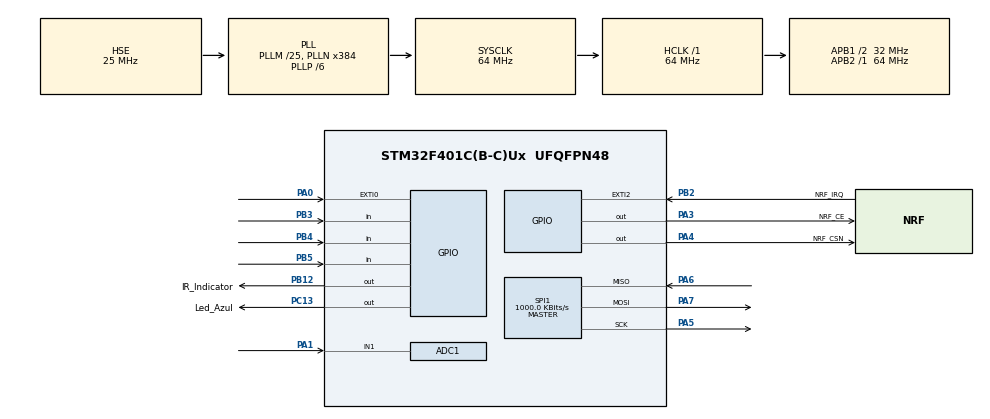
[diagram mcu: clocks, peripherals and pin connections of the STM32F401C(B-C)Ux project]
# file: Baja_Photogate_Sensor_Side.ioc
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ADC1.Channel-0\#ChannelRegularConversion=ADC_CHANNEL_1
ADC1.ContinuousConvMode=ENABLE
ADC1.DMAContinuousRequests=ENABLE
ADC1.NbrOfConversion=1
ADC1.NbrOfConversionFlag=1
ADC1.Rank-0\#ChannelRegularConversion=1
ADC1.SamplingTime-0\#ChannelRegularConversion=ADC_SAMPLETIME_480CYCLES
ADC1.master=1
Dma.ADC1.0.Direction=DMA_PERIPH_TO_MEMORY
Dma.ADC1.0.FIFOMode=DMA_FIFOMODE_DISABLE
Dma.ADC1.0.Instance=DMA2_Stream0
Dma.ADC1.0.MemDataAlignment=DMA_MDATAALIGN_HALFWORD
Dma.ADC1.0.MemInc=DMA_MINC_ENABLE
Dma.ADC1.0.Mode=DMA_CIRCULAR
Dma.ADC1.0.PeriphDataAlignment=DMA_PDATAALIGN_HALFWORD
Dma.ADC1.0.PeriphInc=DMA_PINC_DISABLE
Dma.ADC1.0.Priority=DMA_PRIORITY_LOW
Dma.Request0=ADC1
Mcu.Family=STM32F4
Mcu.Name=STM32F401C(B-C)Ux
Mcu.Package=UFQFPN48
NVIC.DMA2_Stream0_IRQn=true\:0\:0\:false\:false\:true\:false\:true\:true
NVIC.EXTI0_IRQn=true\:2\:0\:true\:false\:true\:true\:true\:false
NVIC.EXTI2_IRQn=true\:3\:0\:true\:false\:true\:true\:true\:false
NVIC.PriorityGroup=NVIC_PRIORITYGROUP_4
NVIC.RCC_IRQn=true\:0\:0\:false\:false\:true\:true\:false\:true
NVIC.TIM1_TRG_COM_TIM11_IRQn=true\:0\:0\:false\:false\:true\:true\:true\:true
NVIC.TIM1_UP_TIM10_IRQn=true\:1\:0\:true\:false\:true\:true\:true\:true
PA0-WKUP.Signal=GPXTI0
PA1.Signal=ADCx_IN1
PA3.GPIO_Label=NRF_CE
PA3.GPIO_PuPd=GPIO_PULLDOWN
PA3.GPIO_Speed=GPIO_SPEED_FREQ_VERY_HIGH
PA3.Signal=GPIO_Output
PA4.GPIO_Label=NRF_CSN
PA4.GPIO_PuPd=GPIO_PULLUP
PA4.GPIO_Speed=GPIO_SPEED_FREQ_VERY_HIGH
PA4.PinState=GPIO_PIN_SET
PA4.Signal=GPIO_Output
PA5.GPIO_PuPd=GPIO_PULLDOWN
PA5.Mode=Full_Duplex_Master
PA5.Signal=SPI1_SCK
PA6.GPIO_PuPd=GPIO_NOPULL
PA6.Mode=Full_Duplex_Master
PA6.Signal=SPI1_MISO
PA7.GPIO_PuPd=GPIO_NOPULL
PA7.Mode=Full_Duplex_Master
PA7.Signal=SPI1_MOSI
PB12.GPIO_Label=IR_Indicator
PB12.GPIO_PuPd=GPIO_PULLDOWN
PB12.GPIO_Speed=GPIO_SPEED_FREQ_VERY_HIGH
PB12.PinState=GPIO_PIN_SET
PB12.Signal=GPIO_Output
PB2.GPIO_Label=NRF_IRQ
PB2.GPIO_ModeDefaultEXTI=GPIO_MODE_IT_FALLING
PB2.Signal=GPXTI2
PB3.GPIO_PuPd=GPIO_NOPULL
PB3.Signal=GPIO_Input
PB4.Signal=GPIO_Input
PB5.Signal=GPIO_Input
PC13-ANTI_TAMP.GPIO_Label=Led_Azul
PC13-ANTI_TAMP.PinState=GPIO_PIN_SET
PC13-ANTI_TAMP.Signal=GPIO_Output
PH0\ -\ OSC_IN.Mode=HSE-External-Oscillator
PH0\ -\ OSC_IN.Signal=RCC_OSC_IN
PH1\ -\ OSC_OUT.Mode=HSE-External-Oscillator
PH1\ -\ OSC_OUT.Signal=RCC_OSC_OUT
ProjectManager.HeapSize=0x600
ProjectManager.StackSize=0x400
ProjectManager.TargetToolchain=STM32CubeIDE
RCC.48MHZClocksFreq_Value=48000000
RCC.AHBFreq_Value=64000000
RCC.APB1CLKDivider=RCC_HCLK_DIV2
RCC.APB1Freq_Value=32000000
RCC.APB1TimFreq_Value=64000000
RCC.APB2Freq_Value=64000000
RCC.APB2TimFreq_Value=64000000
RCC.CortexFreq_Value=64000000
RCC.HCLKFreq_Value=64000000
RCC.HSE_VALUE=25000000
RCC.HSI_VALUE=16000000
RCC.LSE_VALUE=32768
RCC.PLLM=25
RCC.PLLN=384
RCC.PLLP=RCC_PLLP_DIV6
RCC.PLLQ=8
RCC.PLLSourceVirtual=RCC_PLLSOURCE_HSE
RCC.SYSCLKFreq_VALUE=64000000
RCC.SYSCLKSource=RCC_SYSCLKSOURCE_PLLCLK
RCC.VCOOutputFreq_Value=384000000
SH.ADCx_IN1.0=ADC1_IN1,IN1
SPI1.BaudRatePrescaler=SPI_BAUDRATEPRESCALER_64
SPI1.CalculateBaudRate=1000.0 KBits/s
SPI1.Direction=SPI_DIRECTION_2LINES
SPI1.Mode=SPI_MODE_MASTER
SPI1.VirtualType=VM_MASTER
TIM10.Period=9
TIM10.Prescaler=64000
TIM11.Period=999
TIM11.Prescaler=63999
VP_TIM10_VS_ClockSourceINT.Mode=Enable_Timer
VP_TIM11_VS_ClockSourceINT.Mode=Enable_Timer
board=custom

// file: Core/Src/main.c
/* USER CODE BEGIN Header */
/**
  ******************************************************************************
  * @file           : main.c
  * @brief          : Main program body
  ******************************************************************************
  * @attention
  *
  * Copyright (c) 2023 STMicroelectronics.
  * All rights reserved.
  *
  * This software is licensed under terms that can be found in the LICENSE file
  * in the root directory of this software component.
  * If no LICENSE file comes with this software, it is provided AS-IS.
  *
  ******************************************************************************
  */
/* USER CODE END Header */
#include "main.h"

/* USER CODE BEGIN Includes */

#include "shared_definitions.h"

/* USER CODE END Includes */

ADC_HandleTypeDef hadc1;
DMA_HandleTypeDef hdma_adc1;

SPI_HandleTypeDef hspi1;

TIM_HandleTypeDef htim10;
TIM_HandleTypeDef htim11;

/* USER CODE BEGIN PV */

BEACONMODE_TypeDef Device_Current_Mode = STANDBY_MODE;
uint16_t Analog_read;

/* USER CODE END PV */

void SystemClock_Config(void);
static void MX_GPIO_Init(void);
static void MX_DMA_Init(void);
static void MX_SPI1_Init(void);
static void MX_TIM10_Init(void);
static void MX_ADC1_Init(void);
static void MX_TIM11_Init(void);

int main(void)
{

  /* MCU Configuration--------------------------------------------------------*/

  /* Reset of all peripherals, Initializes the Flash interface and the Systick. */
  HAL_Init();

  /* USER CODE BEGIN Init */

  uint8_t status = 0x00;

  /* USER CODE END Init */

  /* Configure the system clock */
  SystemClock_Config();

  /* Initialize all configured peripherals */
  MX_GPIO_Init();
  MX_DMA_Init();
  MX_SPI1_Init();
  MX_TIM10_Init();
  MX_ADC1_Init();
  MX_TIM11_Init();
  /* USER CODE BEGIN 2 */

  nRF24_Init();
  while(nRF24_Check() != 1) nRF24_Init();
  NRF_24_Slave_Init();

  Initialize_Batt_Avg_Calc();
  HAL_ADC_Start_DMA (&hadc1, &Analog_read, 1);

  HAL_TIM_Base_Start_IT(&htim10);
  HAL_TIM_Base_Start_IT(&htim11);
  HAL_NVIC_EnableIRQ(EXTI2_IRQn);
  HAL_NVIC_EnableIRQ(EXTI0_IRQn);

  /* USER CODE END 2 */

  /* Infinite loop */
  while (1)
  {

  }
}

void SystemClock_Config(void)
{
  RCC_OscInitTypeDef RCC_OscInitStruct = {0};
  RCC_ClkInitTypeDef RCC_ClkInitStruct = {0};

  /** Configure the main internal regulator output voltage
  */
  __HAL_RCC_PWR_CLK_ENABLE();
  __HAL_PWR_VOLTAGESCALING_CONFIG(PWR_REGULATOR_VOLTAGE_SCALE2);

  /** Initializes the RCC Oscillators according to the specified parameters
  * in the RCC_OscInitTypeDef structure.
  */
  RCC_OscInitStruct.OscillatorType = RCC_OSCILLATORTYPE_HSE;
  RCC_OscInitStruct.HSEState = RCC_HSE_ON;
  RCC_OscInitStruct.PLL.PLLState = RCC_PLL_ON;
  RCC_OscInitStruct.PLL.PLLSource = RCC_PLLSOURCE_HSE;
  RCC_OscInitStruct.PLL.PLLM = 25;
  RCC_OscInitStruct.PLL.PLLN = 384;
  RCC_OscInitStruct.PLL.PLLP = RCC_PLLP_DIV6;
  RCC_OscInitStruct.PLL.PLLQ = 8;
  if (HAL_RCC_OscConfig(&RCC_OscInitStruct) != HAL_OK)
  {
    Error_Handler();
  }

  /** Initializes the CPU, AHB and APB buses clocks
  */
  RCC_ClkInitStruct.ClockType = RCC_CLOCKTYPE_HCLK|RCC_CLOCKTYPE_SYSCLK
                              |RCC_CLOCKTYPE_PCLK1|RCC_CLOCKTYPE_PCLK2;
  RCC_ClkInitStruct.SYSCLKSource = RCC_SYSCLKSOURCE_PLLCLK;
  RCC_ClkInitStruct.AHBCLKDivider = RCC_SYSCLK_DIV1;
  RCC_ClkInitStruct.APB1CLKDivider = RCC_HCLK_DIV2;
  RCC_ClkInitStruct.APB2CLKDivider = RCC_HCLK_DIV1;

  if (HAL_RCC_ClockConfig(&RCC_ClkInitStruct, FLASH_LATENCY_2) != HAL_OK)
  {
    Error_Handler();
  }
}

static void MX_ADC1_Init(void)
{

  ADC_ChannelConfTypeDef sConfig = {0};

  /** Configure the global features of the ADC (Clock, Resolution, Data Alignment and number of conversion)
  */
  hadc1.Instance = ADC1;
  hadc1.Init.ClockPrescaler = ADC_CLOCK_SYNC_PCLK_DIV2;
  hadc1.Init.Resolution = ADC_RESOLUTION_12B;
  hadc1.Init.ScanConvMode = DISABLE;
  hadc1.Init.ContinuousConvMode = ENABLE;
  hadc1.Init.DiscontinuousConvMode = DISABLE;
  hadc1.Init.ExternalTrigConvEdge = ADC_EXTERNALTRIGCONVEDGE_NONE;
  hadc1.Init.ExternalTrigConv = ADC_SOFTWARE_START;
  hadc1.Init.DataAlign = ADC_DATAALIGN_RIGHT;
  hadc1.Init.NbrOfConversion = 1;
  hadc1.Init.DMAContinuousRequests = ENABLE;
  hadc1.Init.EOCSelection = ADC_EOC_SINGLE_CONV;
  if (HAL_ADC_Init(&hadc1) != HAL_OK)
  {
    Error_Handler();
  }

  /** Configure for the selected ADC regular channel its corresponding rank in the sequencer and its sample time.
  */
  sConfig.Channel = ADC_CHANNEL_1;
  sConfig.Rank = 1;
  sConfig.SamplingTime = ADC_SAMPLETIME_480CYCLES;
  if (HAL_ADC_ConfigChannel(&hadc1, &sConfig) != HAL_OK)
  {
    Error_Handler();
  }

}

static void MX_SPI1_Init(void)
{

  /* SPI1 parameter configuration*/
  hspi1.Instance = SPI1;
  hspi1.Init.Mode = SPI_MODE_MASTER;
  hspi1.Init.Direction = SPI_DIRECTION_2LINES;
  hspi1.Init.DataSize = SPI_DATASIZE_8BIT;
  hspi1.Init.CLKPolarity = SPI_POLARITY_LOW;
  hspi1.Init.CLKPhase = SPI_PHASE_1EDGE;
  hspi1.Init.NSS = SPI_NSS_SOFT;
  hspi1.Init.BaudRatePrescaler = SPI_BAUDRATEPRESCALER_64;
  hspi1.Init.FirstBit = SPI_FIRSTBIT_MSB;
  hspi1.Init.TIMode = SPI_TIMODE_DISABLE;
  hspi1.Init.CRCCalculation = SPI_CRCCALCULATION_DISABLE;
  hspi1.Init.CRCPolynomial = 10;
  if (HAL_SPI_Init(&hspi1) != HAL_OK)
  {
    Error_Handler();
  }

}

static void MX_TIM10_Init(void)
{

  htim10.Instance = TIM10;
  htim10.Init.Prescaler = 64000;
  htim10.Init.CounterMode = TIM_COUNTERMODE_UP;
  htim10.Init.Period = 9;
  htim10.Init.ClockDivision = TIM_CLOCKDIVISION_DIV1;
  htim10.Init.AutoReloadPreload = TIM_AUTORELOAD_PRELOAD_DISABLE;
  if (HAL_TIM_Base_Init(&htim10) != HAL_OK)
  {
    Error_Handler();
  }

}

static void MX_TIM11_Init(void)
{

  htim11.Instance = TIM11;
  htim11.Init.Prescaler = 63999;
  htim11.Init.CounterMode = TIM_COUNTERMODE_UP;
  htim11.Init.Period = 999;
  htim11.Init.ClockDivision = TIM_CLOCKDIVISION_DIV1;
  htim11.Init.AutoReloadPreload = TIM_AUTORELOAD_PRELOAD_DISABLE;
  if (HAL_TIM_Base_Init(&htim11) != HAL_OK)
  {
    Error_Handler();
  }

}

static void MX_DMA_Init(void)
{

  /* DMA controller clock enable */
  __HAL_RCC_DMA2_CLK_ENABLE();

  /* DMA interrupt init */
  /* DMA2_Stream0_IRQn interrupt configuration */
  HAL_NVIC_SetPriority(DMA2_Stream0_IRQn, 0, 0);
  HAL_NVIC_EnableIRQ(DMA2_Stream0_IRQn);

}

static void MX_GPIO_Init(void)
{
  GPIO_InitTypeDef GPIO_InitStruct = {0};

  /* GPIO Ports Clock Enable */
  __HAL_RCC_GPIOC_CLK_ENABLE();
  __HAL_RCC_GPIOH_CLK_ENABLE();
  __HAL_RCC_GPIOA_CLK_ENABLE();
  __HAL_RCC_GPIOB_CLK_ENABLE();

  /*Configure GPIO pin Output Level */
  HAL_GPIO_WritePin(Led_Azul_GPIO_Port, Led_Azul_Pin, GPIO_PIN_SET);

  /*Configure GPIO pin Output Level */
  HAL_GPIO_WritePin(NRF_CE_GPIO_Port, NRF_CE_Pin, GPIO_PIN_RESET);

  /*Configure GPIO pin Output Level */
  HAL_GPIO_WritePin(NRF_CSN_GPIO_Port, NRF_CSN_Pin, GPIO_PIN_SET);

  /*Configure GPIO pin Output Level */
  HAL_GPIO_WritePin(IR_Indicator_GPIO_Port, IR_Indicator_Pin, GPIO_PIN_SET);

  /*Configure GPIO pin : Led_Azul_Pin */
  GPIO_InitStruct.Pin = Led_Azul_Pin;
  GPIO_InitStruct.Mode = GPIO_MODE_OUTPUT_PP;
  GPIO_InitStruct.Pull = GPIO_NOPULL;
  GPIO_InitStruct.Speed = GPIO_SPEED_FREQ_LOW;
  HAL_GPIO_Init(Led_Azul_GPIO_Port, &GPIO_InitStruct);

  /*Configure GPIO pin : PA0 */
  GPIO_InitStruct.Pin = GPIO_PIN_0;
  GPIO_InitStruct.Mode = GPIO_MODE_IT_RISING;
  GPIO_InitStruct.Pull = GPIO_NOPULL;
  HAL_GPIO_Init(GPIOA, &GPIO_InitStruct);

  /*Configure GPIO pin : NRF_CE_Pin */
  GPIO_InitStruct.Pin = NRF_CE_Pin;
  GPIO_InitStruct.Mode = GPIO_MODE_OUTPUT_PP;
  GPIO_InitStruct.Pull = GPIO_PULLDOWN;
  GPIO_InitStruct.Speed = GPIO_SPEED_FREQ_VERY_HIGH;
  HAL_GPIO_Init(NRF_CE_GPIO_Port, &GPIO_InitStruct);

  /*Configure GPIO pin : NRF_CSN_Pin */
  GPIO_InitStruct.Pin = NRF_CSN_Pin;
  GPIO_InitStruct.Mode = GPIO_MODE_OUTPUT_PP;
  GPIO_InitStruct.Pull = GPIO_PULLUP;
  GPIO_InitStruct.Speed = GPIO_SPEED_FREQ_VERY_HIGH;
  HAL_GPIO_Init(NRF_CSN_GPIO_Port, &GPIO_InitStruct);

  /*Configure GPIO pin : NRF_IRQ_Pin */
  GPIO_InitStruct.Pin = NRF_IRQ_Pin;
  GPIO_InitStruct.Mode = GPIO_MODE_IT_FALLING;
  GPIO_InitStruct.Pull = GPIO_NOPULL;
  HAL_GPIO_Init(NRF_IRQ_GPIO_Port, &GPIO_InitStruct);

  /*Configure GPIO pin : IR_Indicator_Pin */
  GPIO_InitStruct.Pin = IR_Indicator_Pin;
  GPIO_InitStruct.Mode = GPIO_MODE_OUTPUT_PP;
  GPIO_InitStruct.Pull = GPIO_PULLDOWN;
  GPIO_InitStruct.Speed = GPIO_SPEED_FREQ_VERY_HIGH;
  HAL_GPIO_Init(IR_Indicator_GPIO_Port, &GPIO_InitStruct);

  /*Configure GPIO pins : PB3 PB4 PB5 */
  GPIO_InitStruct.Pin = GPIO_PIN_3|GPIO_PIN_4|GPIO_PIN_5;
  GPIO_InitStruct.Mode = GPIO_MODE_INPUT;
  GPIO_InitStruct.Pull = GPIO_NOPULL;
  HAL_GPIO_Init(GPIOB, &GPIO_InitStruct);

  /* EXTI interrupt init*/
  HAL_NVIC_SetPriority(EXTI0_IRQn, 2, 0);
  HAL_NVIC_SetPriority(EXTI2_IRQn, 3, 0);

}

void Error_Handler(void)
{
  /* USER CODE BEGIN Error_Handler_Debug */
  /* User can add his own implementation to report the HAL error return state */
  __disable_irq();

  HAL_SPI_DeInit(&hspi1);
  MX_SPI1_Init();
  __enable_irq();

  /* USER CODE END Error_Handler_Debug */
}
